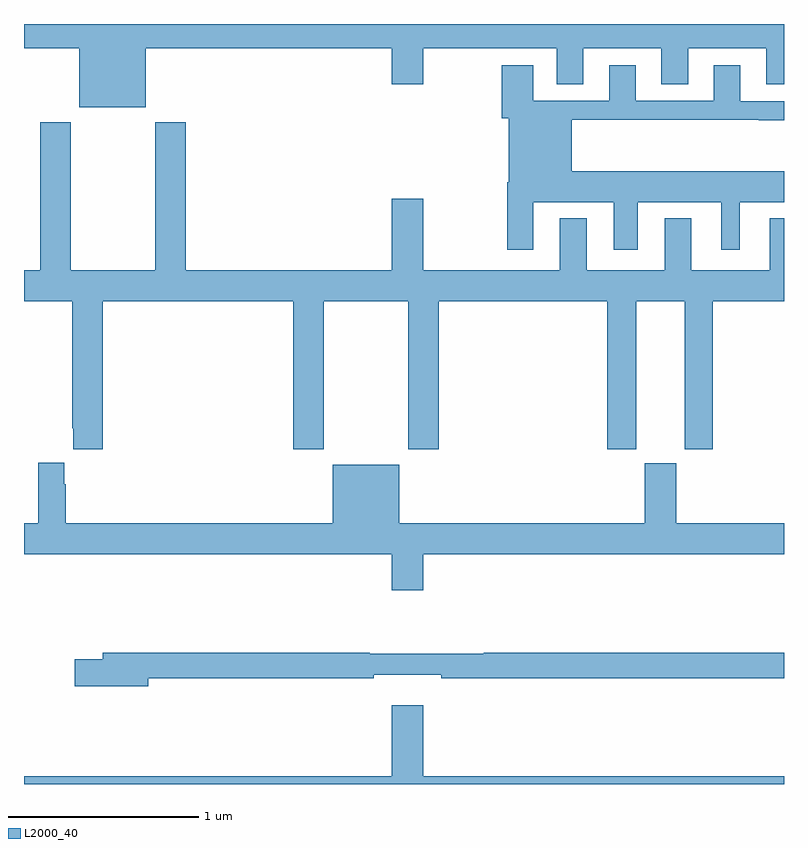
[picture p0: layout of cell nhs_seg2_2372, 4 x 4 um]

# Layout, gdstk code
import gdstk
lib = gdstk.Library(unit=1e-6, precision=1e-09)
def P(c, l, *ps):  # polygons
    for p in ps: c.add(gdstk.Polygon(p, *l))
L2000_40 = (2000, 40)

nhs_seg2_2372 = lib.new_cell('nhs_seg2_2372')
P(nhs_seg2_2372, L2000_40, [(235,611.672),(235.292,611.672),(235.292,611.363),(235.642,611.363),(235.642,611.672),(236.936,611.672),(236.936,611.484),(237.1,611.484),(237.1,611.672),(237.803,611.672),(237.803,611.482),(237.943,611.482),(237.943,611.672),(238.355,611.672),(238.355,611.482),(238.495,611.482),(238.495,611.672),(238.907,611.672),(238.907,611.482),(239,611.482),(239,611.8),(235,611.8)],
  [(237.679,610.862),(238.103,610.862),(238.103,610.611),(238.231,610.611),(238.231,610.862),(238.67,610.862),(238.67,610.611),(238.768,610.611),(238.768,610.862),(239,610.862),(239,611.026),(237.883,611.026),(237.883,611.296),(238.867,611.296),(238.867,611.294),(239,611.294),(239,611.394),(238.771,611.394),(238.771,611.584),(238.631,611.584),(238.631,611.397),(238.219,611.397),(238.219,611.584),(238.079,611.584),(238.079,611.397),(237.679,611.397),(237.679,611.584),(237.515,611.584),(237.515,611.304),(237.551,611.304),(237.551,610.966),(237.544,610.966),(237.544,610.611),(237.679,610.611)],
  [(236.936,610.504),(235.85,610.504),(235.85,611.284),(235.69,611.284),(235.69,610.504),(235.245,610.504),(235.245,611.284),(235.085,611.284),(235.085,610.504),(235,610.504),(235,610.34),(235.255,610.34),(235.255,609.673),(235.259,609.673),(235.259,609.561),(235.415,609.561),(235.415,610.34),(236.417,610.34),(236.417,609.561),(236.577,609.561),(236.577,610.34),(237.022,610.34),(237.022,609.561),(237.182,609.561),(237.182,610.34),(238.07,610.34),(238.07,609.561),(238.222,609.561),(238.222,610.34),(238.478,610.34),(238.478,609.561),(238.626,609.561),(238.626,610.34),(239,610.34),(239,610.777),(238.925,610.777),(238.925,610.504),(238.513,610.504),(238.513,610.777),(238.373,610.777),(238.373,610.504),(237.961,610.504),(237.961,610.777),(237.821,610.777),(237.821,610.504),(237.1,610.504),(237.1,610.879),(236.936,610.879)],
  [(236.624,609.172),(235.22,609.172),(235.22,609.377),(235.213,609.377),(235.213,609.49),(235.076,609.49),(235.076,609.172),(235,609.172),(235,609.008),(236.936,609.008),(236.936,608.82),(237.1,608.82),(237.1,609.008),(239,609.008),(239,609.172),(238.432,609.172),(238.432,609.489),(238.268,609.489),(238.268,609.172),(236.974,609.172),(236.974,609.481),(236.624,609.481)],
  [(235.654,608.356),(236.84,608.356),(236.84,608.375),(237.196,608.375),(237.196,608.356),(239,608.356),(239,608.492),(237.419,608.492),(237.419,608.485),(236.819,608.485),(236.819,608.492),(235.415,608.492),(235.415,608.456),(235.266,608.456),(235.266,608.314),(235.654,608.314)],
  [(239,607.84),(237.1,607.84),(237.1,608.215),(236.936,608.215),(236.936,607.84),(235,607.84),(235,607.8),(239,607.8)])

lib.write_gds('nhs_seg2_2372.gds')
